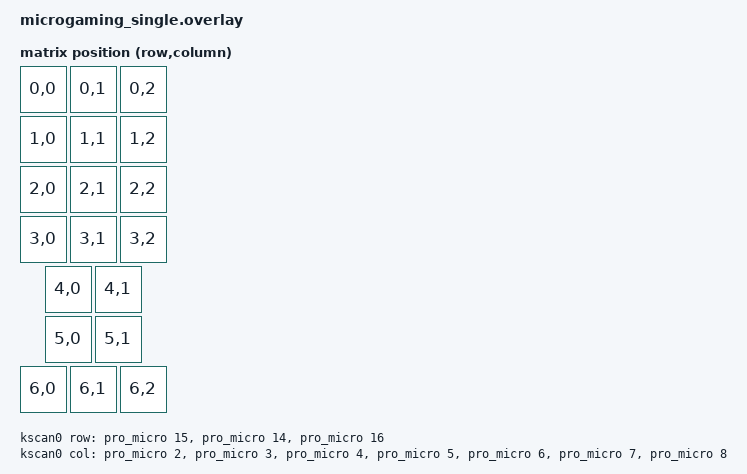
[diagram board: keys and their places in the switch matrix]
#include <dt-bindings/zmk/matrix_transform.h>

 / {
     chosen {
         zmk,kscan = &kscan0;
         zmk,matrix_transform = &matrix_transform0;
     };

     kscan0: kscan {
         compatible = "zmk,kscan-gpio-matrix";
         label = "KSCAN";
         diode-direction = "col2row";

         row-gpios = <&pro_micro 15 (GPIO_ACTIVE_HIGH | GPIO_PULL_DOWN)>,
                     <&pro_micro 14 (GPIO_ACTIVE_HIGH | GPIO_PULL_DOWN)>,
                     <&pro_micro 16 (GPIO_ACTIVE_HIGH | GPIO_PULL_DOWN)>;

         col-gpios = <&pro_micro 2 GPIO_ACTIVE_HIGH>,
                     <&pro_micro 3 GPIO_ACTIVE_HIGH>,
                     <&pro_micro 4 GPIO_ACTIVE_HIGH>,
                     <&pro_micro 5 GPIO_ACTIVE_HIGH>,
                     <&pro_micro 6 GPIO_ACTIVE_HIGH>,
                     <&pro_micro 7 GPIO_ACTIVE_HIGH>,
                     <&pro_micro 8 GPIO_ACTIVE_HIGH>;
     };

     matrix_transform0: matrix_transform {
         compatible = "zmk,matrix_transform";
         rows = <3>;
         columns = <7>;

         map = <RC(0,0) RC(0,1) RC(0,2)
                RC(1,0) RC(1,1) RC(1,2)
                RC(2,0) RC(2,1) RC(2,2)
                RC(3,0) RC(3,1) RC(3,2)
                RC(4,0) RC(4,1)
                RC(5,0) RC(5,1)
                RC(6,0) RC(6,1) RC(6,2)>;
     };
 };
